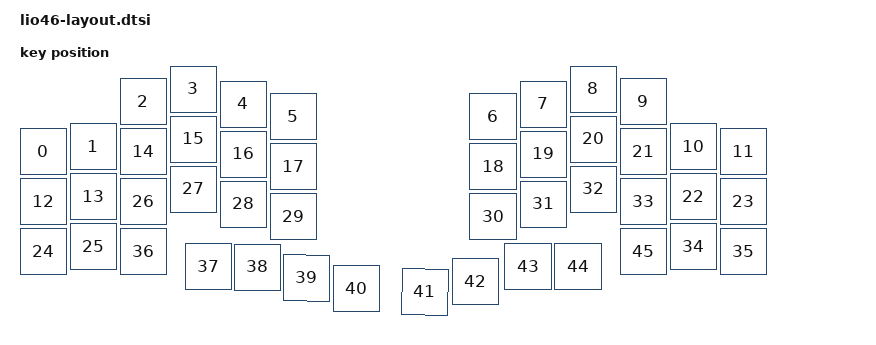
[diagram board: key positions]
#include <physical_layouts.dtsi>


/ {
    physical_layout0: physical_layout0 {
        compatible = "zmk,physical-layout";
        display-name = "Default";
        transform = <&default_transform>;
        // kscan = <&kscan0>;

        // each block is a full row of 12 keys
        keys  //                     w   h    x    y     rot    rx    ry
            // row 1
            = <&key_physical_attrs 100 100    0  170       0     0     0>
            , <&key_physical_attrs 100 100  100  160       0     0     0>
            , <&key_physical_attrs 100 100  200   70       0     0     0>
            , <&key_physical_attrs 100 100  300   45       0     0     0>
            , <&key_physical_attrs 100 100  400   75       0     0     0>
            , <&key_physical_attrs 100 100  500  100       0     0     0>

            , <&key_physical_attrs 100 100  900  100       0     0     0>
            , <&key_physical_attrs 100 100 1000   75       0     0     0>
            , <&key_physical_attrs 100 100 1100   45       0     0     0>
            , <&key_physical_attrs 100 100 1200   70       0     0     0>
            , <&key_physical_attrs 100 100 1300  160       0     0     0>
            , <&key_physical_attrs 100 100 1400  170       0     0     0>

            // row 2
            , <&key_physical_attrs 100 100    0  270       0     0     0>
            , <&key_physical_attrs 100 100  100  260       0     0     0>
            , <&key_physical_attrs 100 100  200  170       0     0     0>
            , <&key_physical_attrs 100 100  300  145       0     0     0>
            , <&key_physical_attrs 100 100  400  175       0     0     0>
            , <&key_physical_attrs 100 100  500  200       0     0     0>

            , <&key_physical_attrs 100 100  900  200       0     0     0>
            , <&key_physical_attrs 100 100 1000  175       0     0     0>
            , <&key_physical_attrs 100 100 1100  145       0     0     0>
            , <&key_physical_attrs 100 100 1200  170       0     0     0>
            , <&key_physical_attrs 100 100 1300  260       0     0     0>
            , <&key_physical_attrs 100 100 1400  270       0     0     0>

            // row 3
            , <&key_physical_attrs 100 100    0  370       0     0     0>
            , <&key_physical_attrs 100 100  100  360       0     0     0>
            , <&key_physical_attrs 100 100  200  270       0     0     0>
            , <&key_physical_attrs 100 100  300  245       0     0     0>
            , <&key_physical_attrs 100 100  400  275       0     0     0>
            , <&key_physical_attrs 100 100  500  300       0     0     0>

            , <&key_physical_attrs 100 100  900  300       0     0     0>
            , <&key_physical_attrs 100 100 1000  275       0     0     0>
            , <&key_physical_attrs 100 100 1100  245       0     0     0>
            , <&key_physical_attrs 100 100 1200  270       0     0     0>
            , <&key_physical_attrs 100 100 1300  360       0     0     0>
            , <&key_physical_attrs 100 100 1400  370       0     0     0>

            // row 4
            , <&key_physical_attrs 100 100  200  370       0     0     0>
            , <&key_physical_attrs 100 100  330  400       0     0     0>
            , <&key_physical_attrs 100 100  430  400       15    0     0>
            , <&key_physical_attrs 100 100  530  420       30    0     0>
            , <&key_physical_attrs 100 100  630  440       30    0     0>

            , <&key_physical_attrs 100 100  770  440       75    0     0>
            , <&key_physical_attrs 100 100  870  420       60    0     0>
            , <&key_physical_attrs 100 100  970  400       0     0     0>
            , <&key_physical_attrs 100 100 1070  400       0     0     0>
            , <&key_physical_attrs 100 100 1200  370       0     0     0>
            ;
    };
};
